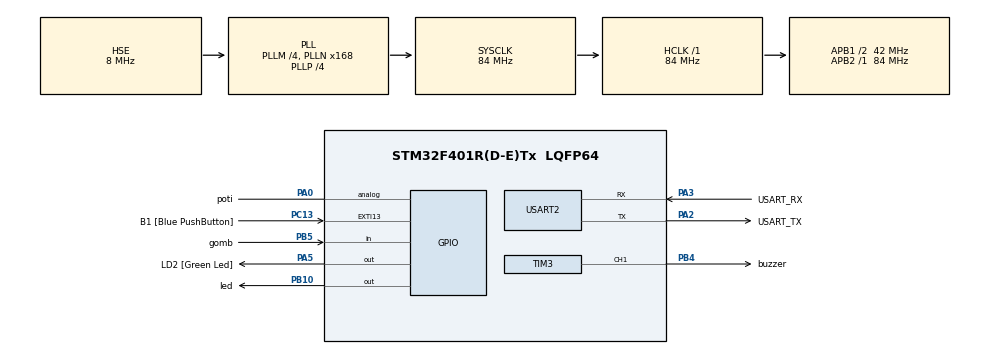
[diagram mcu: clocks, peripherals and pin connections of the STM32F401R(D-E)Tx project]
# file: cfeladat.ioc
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Mcu.Family=STM32F4
Mcu.Name=STM32F401R(D-E)Tx
Mcu.Package=LQFP64
NVIC.PriorityGroup=NVIC_PRIORITYGROUP_4
PA0-WKUP.GPIO_Label=poti
PA0-WKUP.Signal=GPIO_Analog
PA13.GPIO_Label=TMS
PA13.Mode=Trace_Asynchronous_SW
PA13.Signal=SYS_JTMS-SWDIO
PA14.GPIO_Label=TCK
PA14.Mode=Trace_Asynchronous_SW
PA14.Signal=SYS_JTCK-SWCLK
PA2.GPIO_Label=USART_TX
PA2.GPIO_Mode=GPIO_MODE_AF_PP
PA2.GPIO_PuPd=GPIO_NOPULL
PA2.GPIO_Speed=GPIO_SPEED_FREQ_LOW
PA2.Mode=Asynchronous
PA2.Signal=USART2_TX
PA3.GPIO_Label=USART_RX
PA3.GPIO_Mode=GPIO_MODE_AF_PP
PA3.GPIO_PuPd=GPIO_NOPULL
PA3.GPIO_Speed=GPIO_SPEED_FREQ_LOW
PA3.Mode=Asynchronous
PA3.Signal=USART2_RX
PA5.GPIO_Label=LD2 [Green Led]
PA5.GPIO_Mode=GPIO_MODE_OUTPUT_PP
PA5.GPIO_PuPd=GPIO_NOPULL
PA5.GPIO_Speed=GPIO_SPEED_FREQ_LOW
PA5.Signal=GPIO_Output
PB10.GPIO_Label=led
PB10.Signal=GPIO_Output
PB3.GPIO_Label=SWO
PB3.Mode=Trace_Asynchronous_SW
PB3.Signal=SYS_JTDO-SWO
PB4.GPIO_Label=buzzer
PB4.Signal=S_TIM3_CH1
PB5.GPIO_Label=gomb
PB5.Signal=GPIO_Input
PC13-ANTI_TAMP.GPIO_Label=B1 [Blue PushButton]
PC13-ANTI_TAMP.GPIO_ModeDefaultEXTI=GPIO_MODE_IT_FALLING
PC13-ANTI_TAMP.GPIO_PuPd=GPIO_NOPULL
PC13-ANTI_TAMP.Signal=GPXTI13
PC14-OSC32_IN.Mode=LSE-External-Oscillator
PC14-OSC32_IN.Signal=RCC_OSC32_IN
PC15-OSC32_OUT.Mode=LSE-External-Oscillator
PC15-OSC32_OUT.Signal=RCC_OSC32_OUT
PH0\ -\ OSC_IN.Mode=HSE-External-Clock-Source
PH0\ -\ OSC_IN.Signal=RCC_OSC_IN
PH1\ -\ OSC_OUT.Mode=HSE-External-Clock-Source
PH1\ -\ OSC_OUT.Signal=RCC_OSC_OUT
ProjectManager.HeapSize=0x200
ProjectManager.StackSize=0x400
ProjectManager.TargetToolchain=EWARM V8.50
RCC.48MHZClocksFreq_Value=48000000
RCC.AHBFreq_Value=84000000
RCC.APB1CLKDivider=RCC_HCLK_DIV2
RCC.APB1Freq_Value=42000000
RCC.APB1TimFreq_Value=84000000
RCC.APB2Freq_Value=84000000
RCC.APB2TimFreq_Value=84000000
RCC.CortexFreq_Value=84000000
RCC.HCLKFreq_Value=84000000
RCC.HSE_VALUE=8000000
RCC.HSI_VALUE=16000000
RCC.PLLM=4
RCC.PLLN=168
RCC.PLLP=RCC_PLLP_DIV4
RCC.PLLQ=7
RCC.PLLSourceVirtual=RCC_PLLSOURCE_HSE
RCC.SYSCLKFreq_VALUE=84000000
RCC.SYSCLKSource=RCC_SYSCLKSOURCE_PLLCLK
RCC.VCOOutputFreq_Value=336000000
SH.S_TIM3_CH1.0=TIM3_CH1,PWM Generation1 CH1
TIM3.Channel-PWM\ Generation1\ CH1=TIM_CHANNEL_1
TIM3.Period=2499
TIM3.Prescaler=83
TIM3.Pulse-PWM\ Generation1\ CH1=1250
USART2.VirtualMode=VM_ASYNC
VP_TIM3_VS_ClockSourceINT.Mode=Internal
board=NUCLEO-F401RE

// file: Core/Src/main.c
/* USER CODE BEGIN Header */
/**
  ******************************************************************************
  * @file           : main.c
  * @brief          : Main program body
  ******************************************************************************
  * @attention
  *
  * Copyright (c) 2026 STMicroelectronics.
  * All rights reserved.
  *
  * This software is licensed under terms that can be found in the LICENSE file
  * in the root directory of this software component.
  * If no LICENSE file comes with this software, it is provided AS-IS.
  *
  ******************************************************************************
  */
/* USER CODE END Header */
#include "main.h"

TIM_HandleTypeDef htim3;

UART_HandleTypeDef huart2;

void SystemClock_Config(void);
static void MX_GPIO_Init(void);
static void MX_TIM3_Init(void);
static void MX_USART2_UART_Init(void);

int main(void)
{

  /* MCU Configuration--------------------------------------------------------*/

  /* Reset of all peripherals, Initializes the Flash interface and the Systick. */
  HAL_Init();

  /* Configure the system clock */
  SystemClock_Config();

  /* Initialize all configured peripherals */
  MX_GPIO_Init();
  MX_TIM3_Init();
  MX_USART2_UART_Init();
  /* USER CODE BEGIN 2 */

  HAL_TIM_PWM_Start(&htim3, TIM_CHANNEL_1);

  HAL_ADC_Start(&hadc1);

  uint8_t buzzer_state = 0;
  uint8_t last_button_state = GPIO_PIN_SET;
  uint32_t last_led_toggle_time = 0;

  /* USER CODE END 2 */

  /* Infinite loop */
  /* USER CODE BEGIN WHILE */
  while (1)
  {
    while (1)
  {
      uint32_t current_time = HAL_GetTick();
      if (current_time - last_led_toggle_time >= 2000)
      {
          last_led_toggle_time = current_time;
          HAL_GPIO_TogglePin(led_GPIO_Port, led_Pin);
      }

      uint8_t current_button_state = HAL_GPIO_ReadPin(gomb_GPIO_Port, gomb_Pin);

      if (current_button_state == GPIO_PIN_RESET && last_button_state == GPIO_PIN_SET)
      {
          buzzer_state = !buzzer_state;
          HAL_Delay(50);
      }
      last_button_state = current_button_state;

      if (buzzer_state == 1)
      {
          HAL_ADC_Start(&hadc1);
          if (HAL_ADC_PollForConversion(&hadc1, 100) == HAL_OK)
          {
              uint32_t pot_value = HAL_ADC_GetValue(&hadc1);

              uint32_t arr_value = 500 + (pot_value * 4000 / 4095);

              __HAL_TIM_SET_AUTORELOAD(&htim3, arr_value);
              __HAL_TIM_SET_COMPARE(&htim3, TIM_CHANNEL_1, arr_value / 2); // 50% kitöltés
          }
          HAL_ADC_Stop(&hadc1);
      }
      else
      {
          __HAL_TIM_SET_COMPARE(&htim3, TIM_CHANNEL_1, 0);
      }

      HAL_Delay(10);
    /* USER CODE END WHILE */

  }
}

void SystemClock_Config(void)
{
  RCC_OscInitTypeDef RCC_OscInitStruct = {0};
  RCC_ClkInitTypeDef RCC_ClkInitStruct = {0};

  /** Configure the main internal regulator output voltage
  */
  __HAL_RCC_PWR_CLK_ENABLE();
  __HAL_PWR_VOLTAGESCALING_CONFIG(PWR_REGULATOR_VOLTAGE_SCALE2);

  /** Initializes the RCC Oscillators according to the specified parameters
  * in the RCC_OscInitTypeDef structure.
  */
  RCC_OscInitStruct.OscillatorType = RCC_OSCILLATORTYPE_HSE;
  RCC_OscInitStruct.HSEState = RCC_HSE_BYPASS;
  RCC_OscInitStruct.PLL.PLLState = RCC_PLL_ON;
  RCC_OscInitStruct.PLL.PLLSource = RCC_PLLSOURCE_HSE;
  RCC_OscInitStruct.PLL.PLLM = 4;
  RCC_OscInitStruct.PLL.PLLN = 168;
  RCC_OscInitStruct.PLL.PLLP = RCC_PLLP_DIV4;
  RCC_OscInitStruct.PLL.PLLQ = 7;
  if (HAL_RCC_OscConfig(&RCC_OscInitStruct) != HAL_OK)
  {
    Error_Handler();
  }

  /** Initializes the CPU, AHB and APB buses clocks
  */
  RCC_ClkInitStruct.ClockType = RCC_CLOCKTYPE_HCLK|RCC_CLOCKTYPE_SYSCLK
                              |RCC_CLOCKTYPE_PCLK1|RCC_CLOCKTYPE_PCLK2;
  RCC_ClkInitStruct.SYSCLKSource = RCC_SYSCLKSOURCE_PLLCLK;
  RCC_ClkInitStruct.AHBCLKDivider = RCC_SYSCLK_DIV1;
  RCC_ClkInitStruct.APB1CLKDivider = RCC_HCLK_DIV2;
  RCC_ClkInitStruct.APB2CLKDivider = RCC_HCLK_DIV1;

  if (HAL_RCC_ClockConfig(&RCC_ClkInitStruct, FLASH_LATENCY_2) != HAL_OK)
  {
    Error_Handler();
  }
}

static void MX_TIM3_Init(void)
{

  TIM_ClockConfigTypeDef sClockSourceConfig = {0};
  TIM_MasterConfigTypeDef sMasterConfig = {0};
  TIM_OC_InitTypeDef sConfigOC = {0};

  htim3.Instance = TIM3;
  htim3.Init.Prescaler = 83;
  htim3.Init.CounterMode = TIM_COUNTERMODE_UP;
  htim3.Init.Period = 2499;
  htim3.Init.ClockDivision = TIM_CLOCKDIVISION_DIV1;
  htim3.Init.AutoReloadPreload = TIM_AUTORELOAD_PRELOAD_DISABLE;
  if (HAL_TIM_Base_Init(&htim3) != HAL_OK)
  {
    Error_Handler();
  }
  sClockSourceConfig.ClockSource = TIM_CLOCKSOURCE_INTERNAL;
  if (HAL_TIM_ConfigClockSource(&htim3, &sClockSourceConfig) != HAL_OK)
  {
    Error_Handler();
  }
  if (HAL_TIM_PWM_Init(&htim3) != HAL_OK)
  {
    Error_Handler();
  }
  sMasterConfig.MasterOutputTrigger = TIM_TRGO_RESET;
  sMasterConfig.MasterSlaveMode = TIM_MASTERSLAVEMODE_DISABLE;
  if (HAL_TIMEx_MasterConfigSynchronization(&htim3, &sMasterConfig) != HAL_OK)
  {
    Error_Handler();
  }
  sConfigOC.OCMode = TIM_OCMODE_PWM1;
  sConfigOC.Pulse = 1250;
  sConfigOC.OCPolarity = TIM_OCPOLARITY_HIGH;
  sConfigOC.OCFastMode = TIM_OCFAST_DISABLE;
  if (HAL_TIM_PWM_ConfigChannel(&htim3, &sConfigOC, TIM_CHANNEL_1) != HAL_OK)
  {
    Error_Handler();
  }
  HAL_TIM_MspPostInit(&htim3);

}

static void MX_USART2_UART_Init(void)
{

  huart2.Instance = USART2;
  huart2.Init.BaudRate = 115200;
  huart2.Init.WordLength = UART_WORDLENGTH_8B;
  huart2.Init.StopBits = UART_STOPBITS_1;
  huart2.Init.Parity = UART_PARITY_NONE;
  huart2.Init.Mode = UART_MODE_TX_RX;
  huart2.Init.HwFlowCtl = UART_HWCONTROL_NONE;
  huart2.Init.OverSampling = UART_OVERSAMPLING_16;
  if (HAL_UART_Init(&huart2) != HAL_OK)
  {
    Error_Handler();
  }

}

static void MX_GPIO_Init(void)
{
  GPIO_InitTypeDef GPIO_InitStruct = {0};

  /* GPIO Ports Clock Enable */
  __HAL_RCC_GPIOC_CLK_ENABLE();
  __HAL_RCC_GPIOH_CLK_ENABLE();
  __HAL_RCC_GPIOA_CLK_ENABLE();
  __HAL_RCC_GPIOB_CLK_ENABLE();

  /*Configure GPIO pin Output Level */
  HAL_GPIO_WritePin(LD2_GPIO_Port, LD2_Pin, GPIO_PIN_RESET);

  /*Configure GPIO pin Output Level */
  HAL_GPIO_WritePin(led_GPIO_Port, led_Pin, GPIO_PIN_RESET);

  /*Configure GPIO pin : B1_Pin */
  GPIO_InitStruct.Pin = B1_Pin;
  GPIO_InitStruct.Mode = GPIO_MODE_IT_FALLING;
  GPIO_InitStruct.Pull = GPIO_NOPULL;
  HAL_GPIO_Init(B1_GPIO_Port, &GPIO_InitStruct);

  /*Configure GPIO pin : poti_Pin */
  GPIO_InitStruct.Pin = poti_Pin;
  GPIO_InitStruct.Mode = GPIO_MODE_ANALOG;
  GPIO_InitStruct.Pull = GPIO_NOPULL;
  HAL_GPIO_Init(poti_GPIO_Port, &GPIO_InitStruct);

  /*Configure GPIO pin : LD2_Pin */
  GPIO_InitStruct.Pin = LD2_Pin;
  GPIO_InitStruct.Mode = GPIO_MODE_OUTPUT_PP;
  GPIO_InitStruct.Pull = GPIO_NOPULL;
  GPIO_InitStruct.Speed = GPIO_SPEED_FREQ_LOW;
  HAL_GPIO_Init(LD2_GPIO_Port, &GPIO_InitStruct);

  /*Configure GPIO pin : led_Pin */
  GPIO_InitStruct.Pin = led_Pin;
  GPIO_InitStruct.Mode = GPIO_MODE_OUTPUT_PP;
  GPIO_InitStruct.Pull = GPIO_NOPULL;
  GPIO_InitStruct.Speed = GPIO_SPEED_FREQ_LOW;
  HAL_GPIO_Init(led_GPIO_Port, &GPIO_InitStruct);

  /*Configure GPIO pin : gomb_Pin */
  GPIO_InitStruct.Pin = gomb_Pin;
  GPIO_InitStruct.Mode = GPIO_MODE_INPUT;
  GPIO_InitStruct.Pull = GPIO_NOPULL;
  HAL_GPIO_Init(gomb_GPIO_Port, &GPIO_InitStruct);

}

void Error_Handler(void)
{
  __disable_irq();
  while (1)
  {
  }
}
